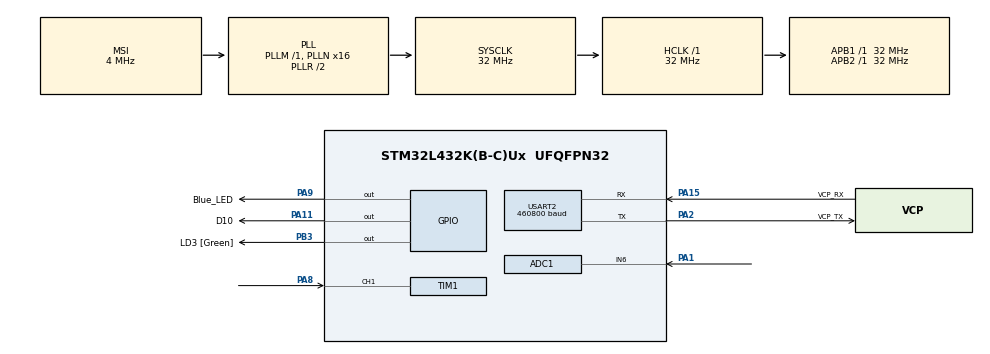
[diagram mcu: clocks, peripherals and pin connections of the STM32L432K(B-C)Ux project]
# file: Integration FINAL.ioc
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ADC1.Channel-1\#ChannelRegularConversion=ADC_CHANNEL_6
ADC1.ExternalTrigConv=ADC_EXTERNALTRIG_T2_TRGO
ADC1.NbrOfConversion=1
ADC1.NbrOfConversionFlag=1
ADC1.OffsetNumber-1\#ChannelRegularConversion=ADC_OFFSET_NONE
ADC1.Rank-1\#ChannelRegularConversion=1
ADC1.SamplingTime-1\#ChannelRegularConversion=ADC_SAMPLETIME_2CYCLES_5
ADC1.master=1
Dma.Request0=USART2_TX
Dma.USART2_TX.0.Direction=DMA_MEMORY_TO_PERIPH
Dma.USART2_TX.0.Instance=DMA1_Channel7
Dma.USART2_TX.0.MemDataAlignment=DMA_MDATAALIGN_BYTE
Dma.USART2_TX.0.MemInc=DMA_MINC_ENABLE
Dma.USART2_TX.0.Mode=DMA_NORMAL
Dma.USART2_TX.0.PeriphDataAlignment=DMA_PDATAALIGN_BYTE
Dma.USART2_TX.0.PeriphInc=DMA_PINC_DISABLE
Dma.USART2_TX.0.Priority=DMA_PRIORITY_HIGH
Mcu.Family=STM32L4
Mcu.Name=STM32L432K(B-C)Ux
Mcu.Package=UFQFPN32
NVIC.ADC1_IRQn=true\:2\:0\:true\:false\:true\:true\:true\:true
NVIC.DMA1_Channel7_IRQn=true\:0\:0\:false\:false\:true\:false\:true\:true
NVIC.PriorityGroup=NVIC_PRIORITYGROUP_4
NVIC.TIM1_BRK_TIM15_IRQn=true\:1\:0\:true\:false\:true\:true\:true\:true
NVIC.TIM1_CC_IRQn=true\:1\:0\:true\:false\:true\:true\:true\:true
NVIC.TIM1_TRG_COM_IRQn=true\:1\:0\:true\:false\:true\:true\:true\:true
NVIC.TIM1_UP_TIM16_IRQn=true\:1\:0\:true\:false\:true\:true\:true\:true
NVIC.TIM2_IRQn=true\:2\:0\:true\:false\:true\:true\:true\:true
NVIC.USART2_IRQn=true\:2\:0\:true\:false\:true\:true\:true\:true
PA0.GPIO_Label=MCO [High speed clock in]
PA0.Mode=HSE-External-Clock-Source-for-LittleOrca
PA0.Signal=RCC_CK_IN
PA1.Signal=ADCx_IN6
PA11.GPIO_Label=D10
PA11.Signal=GPIO_Output
PA13\ (JTMS-SWDIO).GPIO_Label=SWDIO
PA13\ (JTMS-SWDIO).Mode=Serial_Wire
PA13\ (JTMS-SWDIO).Signal=SYS_JTMS-SWDIO
PA14\ (JTCK-SWCLK).GPIO_Label=SWCLK
PA14\ (JTCK-SWCLK).Mode=Serial_Wire
PA14\ (JTCK-SWCLK).Signal=SYS_JTCK-SWCLK
PA15\ (JTDI).GPIO_Label=VCP_RX
PA15\ (JTDI).Mode=Asynchronous
PA15\ (JTDI).Signal=USART2_RX
PA2.GPIO_Label=VCP_TX
PA2.Mode=Asynchronous
PA2.Signal=USART2_TX
PA8.Signal=S_TIM1_CH1
PA9.GPIO_Label=Blue_LED
PA9.Signal=GPIO_Output
PB3\ (JTDO-TRACESWO).GPIO_Label=LD3 [Green]
PB3\ (JTDO-TRACESWO).Signal=GPIO_Output
PC14-OSC32_IN\ (PC14).Mode=LSE-External-Oscillator
PC14-OSC32_IN\ (PC14).Signal=RCC_OSC32_IN
PC15-OSC32_OUT\ (PC15).Mode=LSE-External-Oscillator
PC15-OSC32_OUT\ (PC15).Signal=RCC_OSC32_OUT
ProjectManager.HeapSize=0x200
ProjectManager.StackSize=0x400
ProjectManager.TargetToolchain=STM32CubeIDE
RCC.ADCFreq_Value=32000000
RCC.AHBFreq_Value=32000000
RCC.APB1Freq_Value=32000000
RCC.APB1TimFreq_Value=32000000
RCC.APB2Freq_Value=32000000
RCC.APB2TimFreq_Value=32000000
RCC.CortexFreq_Value=32000000
RCC.HCLKFreq_Value=32000000
RCC.HSE_VALUE=8000000
RCC.HSI16_VALUE=16000000
RCC.HSI48_VALUE=48000000
RCC.HSI_VALUE=16000000
RCC.MSI_VALUE=4000000
RCC.PLLMUL=RCC_PLLMUL_4
RCC.PLLN=16
RCC.PLLSAI1N=16
RCC.SYSCLKFreq_VALUE=32000000
RCC.SYSCLKSource=RCC_SYSCLKSOURCE_PLLCLK
RCC.USBFreq_Value=32000000
RCC.VCOOutputFreq_Value=64000000
SH.ADCx_IN6.0=ADC1_IN6,IN6-Single-Ended
SH.S_TIM1_CH1.0=TIM1_CH1,Input_Capture1_from_TI1
TIM1.Channel-Input_Capture1_from_TI1=TIM_CHANNEL_1
TIM1.ICPolarity_CH1=TIM_INPUTCHANNELPOLARITY_BOTHEDGE
TIM1.Prescaler=31
TIM16.Prescaler=31
TIM2.Channel-PWM\ Generation1\ No\ Output=TIM_CHANNEL_1
TIM2.Period=5330
TIM2.TIM_MasterOutputTrigger=TIM_TRGO_UPDATE
USART2.BaudRate=460800
USART2.VirtualMode-Asynchronous=VM_ASYNC
VP_TIM16_VS_ClockSourceINT.Mode=Enable_Timer
VP_TIM2_VS_no_output1.Mode=PWM Generation1 No Output
board=NUCLEO-L432KC

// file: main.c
/* USER CODE BEGIN Header */
/**
  ******************************************************************************
  * @file           : main.c
  * @brief          : Main program body for ECE2071 Project 1.
  * 				  This system records audio data from ADC and sends to CLI
  * 				  over UART along with US sensor data
  * @author 		: Kody Appleton
  * @data			: 05/05/2024
  ******************************************************************************
  * @attention
  *
  * Copyright (c) 2024 STMicroelectronics.
  * All rights reserved.
  *
  * This software is licensed under terms that can be found in the LICENSE file
  * in the root directory of this software component.
  * If no LICENSE file comes with this software, it is provided AS-IS.
  *
  ******************************************************************************
  */
/* USER CODE END Header */
#include "main.h"

/* USER CODE BEGIN Includes */
#include <stdio.h>
#include <stdlib.h>
#include <string.h>
/* USER CODE END Includes */

ADC_HandleTypeDef hadc1;

TIM_HandleTypeDef htim1;
TIM_HandleTypeDef htim2;
TIM_HandleTypeDef htim16;

UART_HandleTypeDef huart2;
DMA_HandleTypeDef hdma_usart2_tx;

/* USER CODE BEGIN PV */
// define variable to store ADC data
uint16_t raw;

// define variables to store US timing data
int isFirstCaptured = 0;
uint16_t timer2 = 0;
uint16_t timer1 = 0;
uint16_t usTime = 0;
/* USER CODE END PV */

void SystemClock_Config(void);
static void MX_GPIO_Init(void);
static void MX_DMA_Init(void);
static void MX_USART2_UART_Init(void);
static void MX_ADC1_Init(void);
static void MX_TIM2_Init(void);
static void MX_TIM1_Init(void);
static void MX_TIM16_Init(void);

int main(void)
{

  /* MCU Configuration--------------------------------------------------------*/

  /* Reset of all peripherals, Initializes the Flash interface and the Systick. */
  HAL_Init();

  /* Configure the system clock */
  SystemClock_Config();

  /* Initialize all configured peripherals */
  MX_GPIO_Init();
  MX_DMA_Init();
  MX_USART2_UART_Init();
  MX_ADC1_Init();
  MX_TIM2_Init();
  MX_TIM1_Init();
  MX_TIM16_Init();
  /* USER CODE BEGIN 2 */
  // Begin US triggering and timing
  HAL_TIM_IC_Start_IT(&htim1, TIM_CHANNEL_1);
  HAL_TIM_Base_Start_IT(&htim16);

  // Calibrate the ADC
  if (HAL_ADCEx_Calibration_Start(&hadc1, ADC_SINGLE_ENDED) != HAL_OK) {
	  Error_Handler();
  }
  // Start the ADC in interrupt mode
  if (HAL_ADC_Start_IT(&hadc1) != HAL_OK) {
	  Error_Handler();
  }
   // Start PWM Generation to trigger the ADD
  if (HAL_TIM_PWM_Start(&htim2, TIM_CHANNEL_1) != HAL_OK) {
	  Error_Handler();
  }

  /* USER CODE END 2 */

  /* Infinite loop */
  while (1)
  {

  }
}

void SystemClock_Config(void)
{
  RCC_OscInitTypeDef RCC_OscInitStruct = {0};
  RCC_ClkInitTypeDef RCC_ClkInitStruct = {0};

  /** Configure the main internal regulator output voltage
  */
  if (HAL_PWREx_ControlVoltageScaling(PWR_REGULATOR_VOLTAGE_SCALE1) != HAL_OK)
  {
    Error_Handler();
  }

  /** Configure LSE Drive Capability
  */
  HAL_PWR_EnableBkUpAccess();
  __HAL_RCC_LSEDRIVE_CONFIG(RCC_LSEDRIVE_LOW);

  /** Initializes the RCC Oscillators according to the specified parameters
  * in the RCC_OscInitTypeDef structure.
  */
  RCC_OscInitStruct.OscillatorType = RCC_OSCILLATORTYPE_LSE|RCC_OSCILLATORTYPE_MSI;
  RCC_OscInitStruct.LSEState = RCC_LSE_ON;
  RCC_OscInitStruct.MSIState = RCC_MSI_ON;
  RCC_OscInitStruct.MSICalibrationValue = 0;
  RCC_OscInitStruct.MSIClockRange = RCC_MSIRANGE_6;
  RCC_OscInitStruct.PLL.PLLState = RCC_PLL_ON;
  RCC_OscInitStruct.PLL.PLLSource = RCC_PLLSOURCE_MSI;
  RCC_OscInitStruct.PLL.PLLM = 1;
  RCC_OscInitStruct.PLL.PLLN = 16;
  RCC_OscInitStruct.PLL.PLLP = RCC_PLLP_DIV7;
  RCC_OscInitStruct.PLL.PLLQ = RCC_PLLQ_DIV2;
  RCC_OscInitStruct.PLL.PLLR = RCC_PLLR_DIV2;
  if (HAL_RCC_OscConfig(&RCC_OscInitStruct) != HAL_OK)
  {
    Error_Handler();
  }

  /** Initializes the CPU, AHB and APB buses clocks
  */
  RCC_ClkInitStruct.ClockType = RCC_CLOCKTYPE_HCLK|RCC_CLOCKTYPE_SYSCLK
                              |RCC_CLOCKTYPE_PCLK1|RCC_CLOCKTYPE_PCLK2;
  RCC_ClkInitStruct.SYSCLKSource = RCC_SYSCLKSOURCE_PLLCLK;
  RCC_ClkInitStruct.AHBCLKDivider = RCC_SYSCLK_DIV1;
  RCC_ClkInitStruct.APB1CLKDivider = RCC_HCLK_DIV1;
  RCC_ClkInitStruct.APB2CLKDivider = RCC_HCLK_DIV1;

  if (HAL_RCC_ClockConfig(&RCC_ClkInitStruct, FLASH_LATENCY_1) != HAL_OK)
  {
    Error_Handler();
  }

  /** Enable MSI Auto calibration
  */
  HAL_RCCEx_EnableMSIPLLMode();
}

static void MX_ADC1_Init(void)
{

  ADC_ChannelConfTypeDef sConfig = {0};

  /** Common config
  */
  hadc1.Instance = ADC1;
  hadc1.Init.ClockPrescaler = ADC_CLOCK_ASYNC_DIV1;
  hadc1.Init.Resolution = ADC_RESOLUTION_12B;
  hadc1.Init.DataAlign = ADC_DATAALIGN_RIGHT;
  hadc1.Init.ScanConvMode = ADC_SCAN_DISABLE;
  hadc1.Init.EOCSelection = ADC_EOC_SINGLE_CONV;
  hadc1.Init.LowPowerAutoWait = DISABLE;
  hadc1.Init.ContinuousConvMode = DISABLE;
  hadc1.Init.NbrOfConversion = 1;
  hadc1.Init.DiscontinuousConvMode = DISABLE;
  hadc1.Init.ExternalTrigConv = ADC_EXTERNALTRIG_T2_TRGO;
  hadc1.Init.ExternalTrigConvEdge = ADC_EXTERNALTRIGCONVEDGE_RISING;
  hadc1.Init.DMAContinuousRequests = DISABLE;
  hadc1.Init.Overrun = ADC_OVR_DATA_PRESERVED;
  hadc1.Init.OversamplingMode = DISABLE;
  if (HAL_ADC_Init(&hadc1) != HAL_OK)
  {
    Error_Handler();
  }

  /** Configure Regular Channel
  */
  sConfig.Channel = ADC_CHANNEL_6;
  sConfig.Rank = ADC_REGULAR_RANK_1;
  sConfig.SamplingTime = ADC_SAMPLETIME_2CYCLES_5;
  sConfig.SingleDiff = ADC_SINGLE_ENDED;
  sConfig.OffsetNumber = ADC_OFFSET_NONE;
  sConfig.Offset = 0;
  if (HAL_ADC_ConfigChannel(&hadc1, &sConfig) != HAL_OK)
  {
    Error_Handler();
  }

}

static void MX_TIM1_Init(void)
{

  TIM_MasterConfigTypeDef sMasterConfig = {0};
  TIM_IC_InitTypeDef sConfigIC = {0};

  htim1.Instance = TIM1;
  htim1.Init.Prescaler = 31;
  htim1.Init.CounterMode = TIM_COUNTERMODE_UP;
  htim1.Init.Period = 65535;
  htim1.Init.ClockDivision = TIM_CLOCKDIVISION_DIV1;
  htim1.Init.RepetitionCounter = 0;
  htim1.Init.AutoReloadPreload = TIM_AUTORELOAD_PRELOAD_DISABLE;
  if (HAL_TIM_IC_Init(&htim1) != HAL_OK)
  {
    Error_Handler();
  }
  sMasterConfig.MasterOutputTrigger = TIM_TRGO_RESET;
  sMasterConfig.MasterOutputTrigger2 = TIM_TRGO2_RESET;
  sMasterConfig.MasterSlaveMode = TIM_MASTERSLAVEMODE_DISABLE;
  if (HAL_TIMEx_MasterConfigSynchronization(&htim1, &sMasterConfig) != HAL_OK)
  {
    Error_Handler();
  }
  sConfigIC.ICPolarity = TIM_INPUTCHANNELPOLARITY_BOTHEDGE;
  sConfigIC.ICSelection = TIM_ICSELECTION_DIRECTTI;
  sConfigIC.ICPrescaler = TIM_ICPSC_DIV1;
  sConfigIC.ICFilter = 0;
  if (HAL_TIM_IC_ConfigChannel(&htim1, &sConfigIC, TIM_CHANNEL_1) != HAL_OK)
  {
    Error_Handler();
  }

}

static void MX_TIM2_Init(void)
{

  TIM_MasterConfigTypeDef sMasterConfig = {0};
  TIM_OC_InitTypeDef sConfigOC = {0};

  htim2.Instance = TIM2;
  htim2.Init.Prescaler = 0;
  htim2.Init.CounterMode = TIM_COUNTERMODE_UP;
  htim2.Init.Period = 5330;
  htim2.Init.ClockDivision = TIM_CLOCKDIVISION_DIV1;
  htim2.Init.AutoReloadPreload = TIM_AUTORELOAD_PRELOAD_DISABLE;
  if (HAL_TIM_PWM_Init(&htim2) != HAL_OK)
  {
    Error_Handler();
  }
  sMasterConfig.MasterOutputTrigger = TIM_TRGO_UPDATE;
  sMasterConfig.MasterSlaveMode = TIM_MASTERSLAVEMODE_DISABLE;
  if (HAL_TIMEx_MasterConfigSynchronization(&htim2, &sMasterConfig) != HAL_OK)
  {
    Error_Handler();
  }
  sConfigOC.OCMode = TIM_OCMODE_PWM1;
  sConfigOC.Pulse = 0;
  sConfigOC.OCPolarity = TIM_OCPOLARITY_HIGH;
  sConfigOC.OCFastMode = TIM_OCFAST_DISABLE;
  if (HAL_TIM_PWM_ConfigChannel(&htim2, &sConfigOC, TIM_CHANNEL_1) != HAL_OK)
  {
    Error_Handler();
  }

}

static void MX_TIM16_Init(void)
{

  htim16.Instance = TIM16;
  htim16.Init.Prescaler = 31;
  htim16.Init.CounterMode = TIM_COUNTERMODE_UP;
  htim16.Init.Period = 65535;
  htim16.Init.ClockDivision = TIM_CLOCKDIVISION_DIV1;
  htim16.Init.RepetitionCounter = 0;
  htim16.Init.AutoReloadPreload = TIM_AUTORELOAD_PRELOAD_DISABLE;
  if (HAL_TIM_Base_Init(&htim16) != HAL_OK)
  {
    Error_Handler();
  }

}

static void MX_USART2_UART_Init(void)
{

  huart2.Instance = USART2;
  huart2.Init.BaudRate = 460800;
  huart2.Init.WordLength = UART_WORDLENGTH_8B;
  huart2.Init.StopBits = UART_STOPBITS_1;
  huart2.Init.Parity = UART_PARITY_NONE;
  huart2.Init.Mode = UART_MODE_TX_RX;
  huart2.Init.HwFlowCtl = UART_HWCONTROL_NONE;
  huart2.Init.OverSampling = UART_OVERSAMPLING_16;
  huart2.Init.OneBitSampling = UART_ONE_BIT_SAMPLE_DISABLE;
  huart2.AdvancedInit.AdvFeatureInit = UART_ADVFEATURE_NO_INIT;
  if (HAL_UART_Init(&huart2) != HAL_OK)
  {
    Error_Handler();
  }

}

static void MX_DMA_Init(void)
{

  /* DMA controller clock enable */
  __HAL_RCC_DMA1_CLK_ENABLE();

  /* DMA interrupt init */
  /* DMA1_Channel7_IRQn interrupt configuration */
  HAL_NVIC_SetPriority(DMA1_Channel7_IRQn, 0, 0);
  HAL_NVIC_EnableIRQ(DMA1_Channel7_IRQn);

}

static void MX_GPIO_Init(void)
{
  GPIO_InitTypeDef GPIO_InitStruct = {0};

  /* GPIO Ports Clock Enable */
  __HAL_RCC_GPIOC_CLK_ENABLE();
  __HAL_RCC_GPIOA_CLK_ENABLE();
  __HAL_RCC_GPIOB_CLK_ENABLE();

  /*Configure GPIO pin Output Level */
  HAL_GPIO_WritePin(GPIOA, Blue_LED_Pin|D10_Pin, GPIO_PIN_RESET);

  /*Configure GPIO pin Output Level */
  HAL_GPIO_WritePin(LD3_GPIO_Port, LD3_Pin, GPIO_PIN_RESET);

  /*Configure GPIO pins : Blue_LED_Pin D10_Pin */
  GPIO_InitStruct.Pin = Blue_LED_Pin|D10_Pin;
  GPIO_InitStruct.Mode = GPIO_MODE_OUTPUT_PP;
  GPIO_InitStruct.Pull = GPIO_NOPULL;
  GPIO_InitStruct.Speed = GPIO_SPEED_FREQ_LOW;
  HAL_GPIO_Init(GPIOA, &GPIO_InitStruct);

  /*Configure GPIO pin : LD3_Pin */
  GPIO_InitStruct.Pin = LD3_Pin;
  GPIO_InitStruct.Mode = GPIO_MODE_OUTPUT_PP;
  GPIO_InitStruct.Pull = GPIO_NOPULL;
  GPIO_InitStruct.Speed = GPIO_SPEED_FREQ_LOW;
  HAL_GPIO_Init(LD3_GPIO_Port, &GPIO_InitStruct);

}

/* USER CODE BEGIN 4 */
// Callback triggered when UART transmission complete
void HAL_UART_TxCpltCallback(UART_HandleTypeDef *huart) {

}

// Callback which runs US sensor
void HAL_TIM_IC_CaptureCallback(TIM_HandleTypeDef *htim) {

	// Begin timing
	if (isFirstCaptured == 0) {
			timer1 = (uint16_t) HAL_TIM_ReadCapturedValue(htim, TIM_CHANNEL_1);
			isFirstCaptured = 1;

	// Calculate elapsed time once the echo is received
	} else {
			timer2 = (uint16_t) HAL_TIM_ReadCapturedValue(htim, TIM_CHANNEL_1);

			usTime = abs(timer1 - timer2);

			// If no echo received (timer reached max value, ignore)
			if (usTime > 20000){
				return;
			}

			// Add 10000 to the US value so it can be easily identified from ADC values by serial handler in CLI
			usTime = usTime + 10000;
			// Send US data over UART using DMA
			uint8_t *datapointer = (uint8_t *)(&usTime);
			int dataLength = sizeof(usTime);
			HAL_UART_Transmit_DMA(&huart2, datapointer, dataLength);

			// Toggle the Green LED to US data can be shown to be occurring to user
			HAL_GPIO_TogglePin(LD3_GPIO_Port, LD3_Pin);

			// Reset the counter
			__HAL_TIM_SET_COUNTER(htim, 0);
			// Set back trigger to false
			isFirstCaptured = 0;

	}
}

// Trigger an US pulse on timer callback
void HAL_TIM_PeriodElapsedCallback(TIM_HandleTypeDef *htim) {
	HAL_GPIO_TogglePin(D10_GPIO_Port, D10_Pin);
}

// Send ADC data when timer2 callback is activated
void HAL_ADC_ConvCpltCallback(ADC_HandleTypeDef *hadc) {
	// Get ADC value
	raw = HAL_ADC_GetValue(&hadc1);

	// Send ADC data over UART using DMA
	uint8_t *ADCValPtr = (uint8_t *)(&raw);
	int valLength = sizeof(raw);
	HAL_UART_Transmit_DMA(&huart2, ADCValPtr, valLength);

	// Toggle the Blue LED when the ADC value is sent (viewable on scope only)
	HAL_GPIO_TogglePin(Blue_LED_GPIO_Port, Blue_LED_Pin);

}
/* USER CODE END 4 */

void Error_Handler(void)
{
  /* USER CODE BEGIN Error_Handler_Debug */
  /* User can add his own implementation to report the HAL error return state */
	// If error occurs, blue LED will go off
	HAL_GPIO_WritePin(Blue_LED_GPIO_Port, Blue_LED_Pin, GPIO_PIN_RESET);
  __disable_irq();
  while (1)
  {
  }
  /* USER CODE END Error_Handler_Debug */
}
